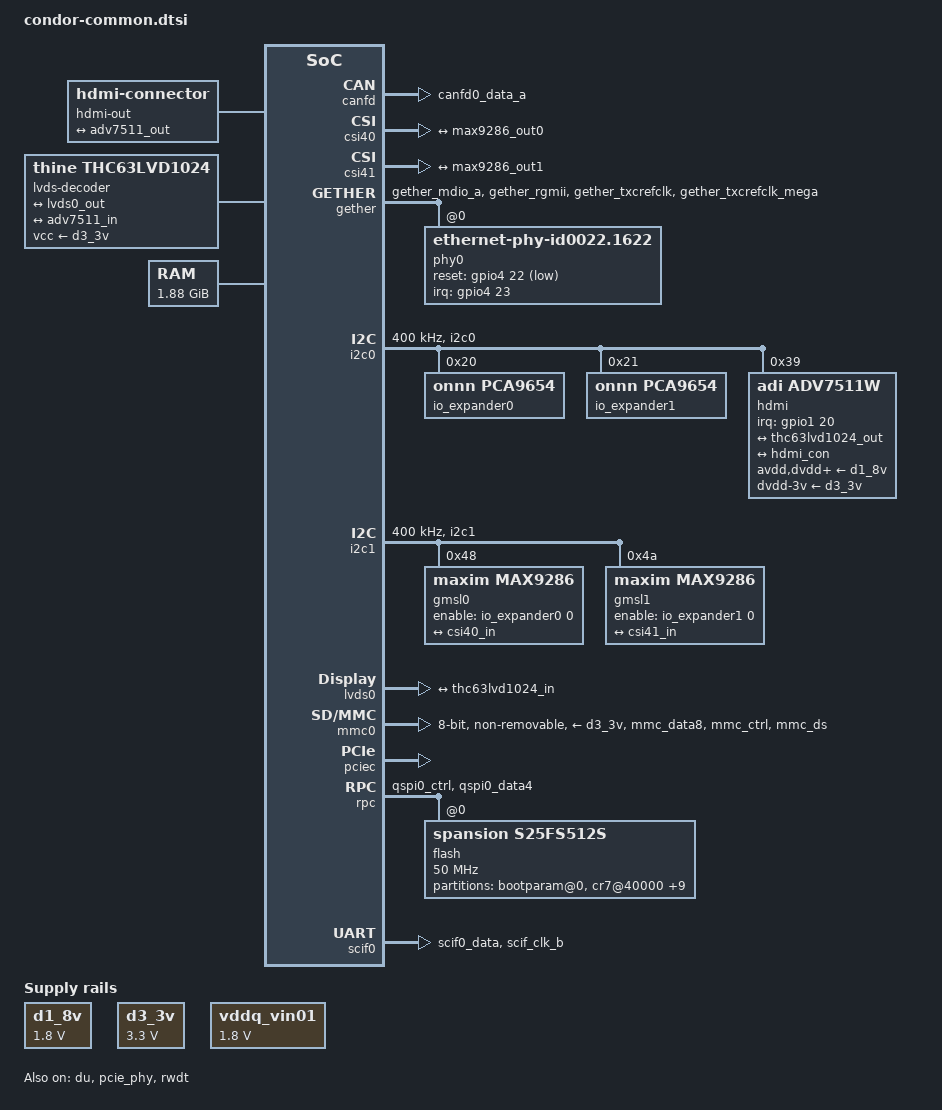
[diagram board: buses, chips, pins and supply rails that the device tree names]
// SPDX-License-Identifier: GPL-2.0
/*
 * Device Tree Source for the Condor board with R-Car V3H
 *
 * Copyright (C) 2018 Renesas Electronics Corp.
 * Copyright (C) 2018 Cogent Embedded, Inc.
 */
#include <dt-bindings/gpio/gpio.h>

/ {
	aliases {
		i2c0 = &i2c0;
		i2c1 = &i2c1;
		i2c2 = &i2c2;
		i2c3 = &i2c3;
		i2c4 = &i2c4;
		i2c5 = &i2c5;
		serial0 = &scif0;
		ethernet0 = &gether;
	};

	chosen {
		stdout-path = "serial0:115200n8";
		bootargs = "ignore_loglevel rw root=/dev/nfs ip=on";
	};

	d1_8v: regulator-2 {
		compatible = "regulator-fixed";
		regulator-name = "D1.8V";
		regulator-min-microvolt = <1800000>;
		regulator-max-microvolt = <1800000>;
		regulator-boot-on;
		regulator-always-on;
	};

	d3_3v: regulator-0 {
		compatible = "regulator-fixed";
		regulator-name = "D3.3V";
		regulator-min-microvolt = <3300000>;
		regulator-max-microvolt = <3300000>;
		regulator-boot-on;
		regulator-always-on;
	};

	hdmi-out {
		compatible = "hdmi-connector";
		type = "a";

		port {
			hdmi_con: endpoint {
				remote-endpoint = <&adv7511_out>;
			};
		};
	};

	lvds-decoder {
		compatible = "thine,thc63lvd1024";
		vcc-supply = <&d3_3v>;

		ports {
			#address-cells = <1>;
			#size-cells = <0>;

			port@0 {
				reg = <0>;
				thc63lvd1024_in: endpoint {
					remote-endpoint = <&lvds0_out>;
				};
			};

			port@2 {
				reg = <2>;
				thc63lvd1024_out: endpoint {
					remote-endpoint = <&adv7511_in>;
				};
			};
		};
	};

	memory@48000000 {
		device_type = "memory";
		/* first 128MB is reserved for secure area. */
		reg = <0 0x48000000 0 0x78000000>;
	};

	vddq_vin01: regulator-1 {
		compatible = "regulator-fixed";
		regulator-name = "VDDQ_VIN01";
		regulator-min-microvolt = <1800000>;
		regulator-max-microvolt = <1800000>;
		regulator-boot-on;
		regulator-always-on;
	};

	x1_clk: x1-clock {
		compatible = "fixed-clock";
		#clock-cells = <0>;
		clock-frequency = <148500000>;
	};
};

&canfd {
	pinctrl-0 = <&canfd0_pins>;
	pinctrl-names = "default";
	status = "okay";

	channel0 {
		status = "okay";
	};
};

&csi40 {
	status = "okay";

	ports {
		port@0 {
			csi40_in: endpoint {
				clock-lanes = <0>;
				data-lanes = <1 2 3 4>;
				remote-endpoint = <&max9286_out0>;
			};
		};
	};
};

&csi41 {
	status = "okay";

	ports {
		port@0 {
			csi41_in: endpoint {
				clock-lanes = <0>;
				data-lanes = <1 2 3 4>;
				remote-endpoint = <&max9286_out1>;
			};
		};
	};
};

&du {
	clocks = <&cpg CPG_MOD 724>,
		 <&x1_clk>;
	clock-names = "du.0", "dclkin.0";
	status = "okay";
};

&extal_clk {
	clock-frequency = <16666666>;
};

&extalr_clk {
	clock-frequency = <32768>;
};

&gether {
	pinctrl-0 = <&gether_pins>;
	pinctrl-names = "default";

	phy-mode = "rgmii-id";
	phy-handle = <&phy0>;
	renesas,no-ether-link;
	status = "okay";

	phy0: ethernet-phy@0 {
		compatible = "ethernet-phy-id0022.1622",
			     "ethernet-phy-ieee802.3-c22";
		rxc-skew-ps = <1500>;
		reg = <0>;
		interrupt-parent = <&gpio4>;
		interrupts = <23 IRQ_TYPE_LEVEL_LOW>;
		reset-gpios = <&gpio4 22 GPIO_ACTIVE_LOW>;
	};
};

&i2c0 {
	pinctrl-0 = <&i2c0_pins>;
	pinctrl-names = "default";

	status = "okay";
	clock-frequency = <400000>;

	io_expander0: gpio@20 {
		compatible = "onnn,pca9654";
		reg = <0x20>;
		gpio-controller;
		#gpio-cells = <2>;
	};

	io_expander1: gpio@21 {
		compatible = "onnn,pca9654";
		reg = <0x21>;
		gpio-controller;
		#gpio-cells = <2>;
	};

	hdmi@39 {
		compatible = "adi,adv7511w";
		reg = <0x39>;
		interrupt-parent = <&gpio1>;
		interrupts = <20 IRQ_TYPE_LEVEL_LOW>;
		avdd-supply = <&d1_8v>;
		dvdd-supply = <&d1_8v>;
		pvdd-supply = <&d1_8v>;
		bgvdd-supply = <&d1_8v>;
		dvdd-3v-supply = <&d3_3v>;

		adi,input-depth = <8>;
		adi,input-colorspace = "rgb";
		adi,input-clock = "1x";

		ports {
			#address-cells = <1>;
			#size-cells = <0>;

			port@0 {
				reg = <0>;
				adv7511_in: endpoint {
					remote-endpoint = <&thc63lvd1024_out>;
				};
			};

			port@1 {
				reg = <1>;
				adv7511_out: endpoint {
					remote-endpoint = <&hdmi_con>;
				};
			};
		};
	};
};

&i2c1 {
	pinctrl-0 = <&i2c1_pins>;
	pinctrl-names = "default";

	status = "okay";
	clock-frequency = <400000>;

	gmsl0: gmsl-deserializer@48 {
		compatible = "maxim,max9286";
		reg = <0x48>;

		maxim,gpio-poc = <0 GPIO_ACTIVE_LOW>;
		enable-gpios = <&io_expander0 0 GPIO_ACTIVE_HIGH>;

		ports {
			#address-cells = <1>;
			#size-cells = <0>;

			port@0 {
				reg = <0>;
			};

			port@1 {
				reg = <1>;
			};

			port@2 {
				reg = <2>;
			};

			port@3 {
				reg = <3>;
			};

			port@4 {
				reg = <4>;
				max9286_out0: endpoint {
					clock-lanes = <0>;
					data-lanes = <1 2 3 4>;
					remote-endpoint = <&csi40_in>;
				};
			};
		};

		i2c-mux {
			#address-cells = <1>;
			#size-cells = <0>;

			i2c@0 {
				#address-cells = <1>;
				#size-cells = <0>;
				reg = <0>;

				status = "disabled";
			};

			i2c@1 {
				#address-cells = <1>;
				#size-cells = <0>;
				reg = <1>;

				status = "disabled";
			};

			i2c@2 {
				#address-cells = <1>;
				#size-cells = <0>;
				reg = <2>;

				status = "disabled";
			};

			i2c@3 {
				#address-cells = <1>;
				#size-cells = <0>;
				reg = <3>;

				status = "disabled";
			};
		};
	};

	gmsl1: gmsl-deserializer@4a {
		compatible = "maxim,max9286";
		reg = <0x4a>;

		maxim,gpio-poc = <0 GPIO_ACTIVE_LOW>;
		enable-gpios = <&io_expander1 0 GPIO_ACTIVE_HIGH>;

		ports {
			#address-cells = <1>;
			#size-cells = <0>;

			port@0 {
				reg = <0>;
			};

			port@1 {
				reg = <1>;
			};

			port@2 {
				reg = <2>;
			};

			port@3 {
				reg = <3>;
			};

			port@4 {
				reg = <4>;
				max9286_out1: endpoint {
					clock-lanes = <0>;
					data-lanes = <1 2 3 4>;
					remote-endpoint = <&csi41_in>;
				};
			};
		};

		i2c-mux {
			#address-cells = <1>;
			#size-cells = <0>;

			i2c@0 {
				#address-cells = <1>;
				#size-cells = <0>;
				reg = <0>;

				status = "disabled";
			};

			i2c@1 {
				#address-cells = <1>;
				#size-cells = <0>;
				reg = <1>;

				status = "disabled";
			};

			i2c@2 {
				#address-cells = <1>;
				#size-cells = <0>;
				reg = <2>;

				status = "disabled";
			};

			i2c@3 {
				#address-cells = <1>;
				#size-cells = <0>;
				reg = <3>;

				status = "disabled";
			};
		};
	};
};

&lvds0 {
	status = "okay";

	ports {
		port@1 {
			lvds0_out: endpoint {
				remote-endpoint = <&thc63lvd1024_in>;
			};
		};
	};
};

&mmc0 {
	pinctrl-0 = <&mmc_pins>;
	pinctrl-1 = <&mmc_pins>;
	pinctrl-names = "default", "state_uhs";

	vmmc-supply = <&d3_3v>;
	vqmmc-supply = <&vddq_vin01>;
	mmc-hs200-1_8v;
	bus-width = <8>;
	no-sd;
	no-sdio;
	non-removable;
	status = "okay";
};

&pciec {
	status = "okay";
};

&pcie_bus_clk {
	clock-frequency = <100000000>;
};

&pcie_phy {
	status = "okay";
};

&pfc {
	canfd0_pins: canfd0 {
		groups = "canfd0_data_a";
		function = "canfd0";
	};

	gether_pins: gether {
		groups = "gether_mdio_a", "gether_rgmii",
			 "gether_txcrefclk", "gether_txcrefclk_mega";
		function = "gether";
	};

	i2c0_pins: i2c0 {
		groups = "i2c0";
		function = "i2c0";
	};

	i2c1_pins: i2c1 {
		groups = "i2c1";
		function = "i2c1";
	};

	mmc_pins: mmc {
		groups = "mmc_data8", "mmc_ctrl", "mmc_ds";
		function = "mmc";
		power-source = <1800>;
	};

	qspi0_pins: qspi0 {
		groups = "qspi0_ctrl", "qspi0_data4";
		function = "qspi0";
	};

	scif0_pins: scif0 {
		groups = "scif0_data";
		function = "scif0";
	};

	scif_clk_pins: scif_clk {
		groups = "scif_clk_b";
		function = "scif_clk";
	};
};

&rpc {
	pinctrl-0 = <&qspi0_pins>;
	pinctrl-names = "default";

	status = "okay";

	flash@0 {
		compatible = "spansion,s25fs512s", "jedec,spi-nor";
		reg = <0>;
		spi-max-frequency = <50000000>;
		spi-rx-bus-width = <4>;

		partitions {
			compatible = "fixed-partitions";
			#address-cells = <1>;
			#size-cells = <1>;

			bootparam@0 {
				reg = <0x00000000 0x040000>;
				read-only;
			};
			cr7@40000 {
				reg = <0x00040000 0x080000>;
				read-only;
			};
			cert_header_sa3@c0000 {
				reg = <0x000c0000 0x080000>;
				read-only;
			};
			bl2@140000 {
				reg = <0x00140000 0x040000>;
				read-only;
			};
			cert_header_sa6@180000 {
				reg = <0x00180000 0x040000>;
				read-only;
			};
			bl31@1c0000 {
				reg = <0x001c0000 0x460000>;
				read-only;
			};
			uboot@640000 {
				reg = <0x00640000 0x0c0000>;
				read-only;
			};
			uboot-env@700000 {
				reg = <0x00700000 0x040000>;
				read-only;
			};
			dtb@740000 {
				reg = <0x00740000 0x080000>;
			};
			kernel@7c0000 {
				reg = <0x007c0000 0x1400000>;
			};
			user@1bc0000 {
				reg = <0x01bc0000 0x2440000>;
			};
		};
	};
};

&rwdt {
	timeout-sec = <60>;
	status = "okay";
};

&scif0 {
	pinctrl-0 = <&scif0_pins>, <&scif_clk_pins>;
	pinctrl-names = "default";

	status = "okay";
};

&scif_clk {
	clock-frequency = <14745600>;
};
